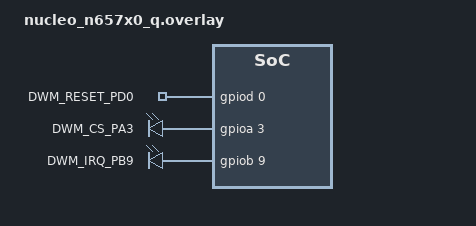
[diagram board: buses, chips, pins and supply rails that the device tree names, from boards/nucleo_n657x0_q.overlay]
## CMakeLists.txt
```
cmake_minimum_required(VERSION 3.20.0)

find_package(Zephyr REQUIRED HINTS $ENV{ZEPHYR_BASE})
project(thinpod_gateway_nucleo_gpio_probe)

target_sources(app PRIVATE src/main.c)
```

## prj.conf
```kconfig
CONFIG_GPIO=y
CONFIG_PRINTK=y
CONFIG_CONSOLE=y
CONFIG_UART_CONSOLE=y
CONFIG_SERIAL=y
```

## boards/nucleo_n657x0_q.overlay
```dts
/*
 * Thin-Pod Gateway rev 0.1
 * NUCLEO-N657X0-Q GPIO-only pin-path probe.
 *
 * Purpose:
 * - prove NUCLEO control of DWM_RESET and DWM_CS
 * - prove NUCLEO read path for DWM_IRQ
 * - do not initialise SPI
 * - do not attempt DW3110 register access
 */

/ {
aliases {
dwm-reset = &dwm_reset;
dwm-cs = &dwm_cs;
dwm-irq = &dwm_irq;
};

thinpod_gateway_probe_gpios {
compatible = "gpio-leds";

dwm_reset: dwm_reset {
gpios = <&gpiod 0 GPIO_ACTIVE_HIGH>;
label = "DWM_RESET_PD0";
};

dwm_cs: dwm_cs {
gpios = <&gpioa 3 GPIO_ACTIVE_HIGH>;
label = "DWM_CS_PA3";
};

dwm_irq: dwm_irq {
gpios = <&gpiob 9 GPIO_ACTIVE_HIGH>;
label = "DWM_IRQ_PB9";
};
};
};

/*
 * PD0 is used by the Gateway as DWM_RESET.
 * Disable FDCAN1 so it cannot claim PD0.
 */
&fdcan1 {
status = "disabled";
};

&gpioa {
status = "okay";
};

&gpiob {
status = "okay";
};

&gpiod {
status = "okay";
};
```

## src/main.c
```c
#include <errno.h>
#include <stdint.h>

#include <zephyr/device.h>
#include <zephyr/drivers/gpio.h>
#include <zephyr/kernel.h>
#include <zephyr/sys/printk.h>

#define PROBE_SLEEP_MS 1000
#define TOGGLE_HOLD_MS 250

static const struct gpio_dt_spec dwm_reset =
	GPIO_DT_SPEC_GET(DT_ALIAS(dwm_reset), gpios);

static const struct gpio_dt_spec dwm_cs =
	GPIO_DT_SPEC_GET(DT_ALIAS(dwm_cs), gpios);

static const struct gpio_dt_spec dwm_irq =
	GPIO_DT_SPEC_GET(DT_ALIAS(dwm_irq), gpios);

static int check_gpio_ready(const struct gpio_dt_spec *spec, const char *name)
{
	if (!device_is_ready(spec->port)) {
		printk("ERROR: %s GPIO device not ready\n", name);
		return -ENODEV;
	}

	printk("%s ready: controller=%s pin=%u\n",
	       name, spec->port->name, spec->pin);

	return 0;
}

int main(void)
{
	int irq_level;
	uint32_t heartbeat = 0U;

	printk("\nThin-Pod Gateway rev0.1 NUCLEO GPIO probe\n");
	printk("Board: nucleo_n657x0_q\n");
	printk("Purpose: RESET / CS / IRQ pin-path confirmation only\n");
	printk("No SPI. No DW3110 register access. No UWB RF.\n\n");

	if (check_gpio_ready(&dwm_reset, "DWM_RESET / PD0") != 0) {
		return 0;
	}

	if (check_gpio_ready(&dwm_cs, "DWM_CS / PA3") != 0) {
		return 0;
	}

	if (check_gpio_ready(&dwm_irq, "DWM_IRQ / PB9") != 0) {
		return 0;
	}

	if (gpio_pin_configure_dt(&dwm_reset, GPIO_OUTPUT_LOW) != 0) {
		printk("ERROR: failed to configure DWM_RESET / PD0\n");
		return 0;
	}

	if (gpio_pin_configure_dt(&dwm_cs, GPIO_OUTPUT_LOW) != 0) {
		printk("ERROR: failed to configure DWM_CS / PA3\n");
		return 0;
	}

	if (gpio_pin_configure_dt(&dwm_irq, GPIO_INPUT) != 0) {
		printk("ERROR: failed to configure DWM_IRQ / PB9\n");
		return 0;
	}

	printk("GPIO configuration complete\n");
	printk("Probe pattern: RESET and CS toggle low/high; IRQ is sampled\n\n");

	while (1) {
		gpio_pin_set_raw(dwm_reset.port, dwm_reset.pin, 0);
		gpio_pin_set_raw(dwm_cs.port, dwm_cs.pin, 0);
		k_msleep(TOGGLE_HOLD_MS);

		irq_level = gpio_pin_get_raw(dwm_irq.port, dwm_irq.pin);
		printk("probe=%u phase=LOW reset=0 cs=0 irq=%d\n",
		       heartbeat, irq_level);

		gpio_pin_set_raw(dwm_reset.port, dwm_reset.pin, 1);
		gpio_pin_set_raw(dwm_cs.port, dwm_cs.pin, 1);
		k_msleep(TOGGLE_HOLD_MS);

		irq_level = gpio_pin_get_raw(dwm_irq.port, dwm_irq.pin);
		printk("probe=%u phase=HIGH reset=1 cs=1 irq=%d\n",
		       heartbeat, irq_level);

		heartbeat++;
		k_msleep(PROBE_SLEEP_MS);
	}

	return 0;
}
```
